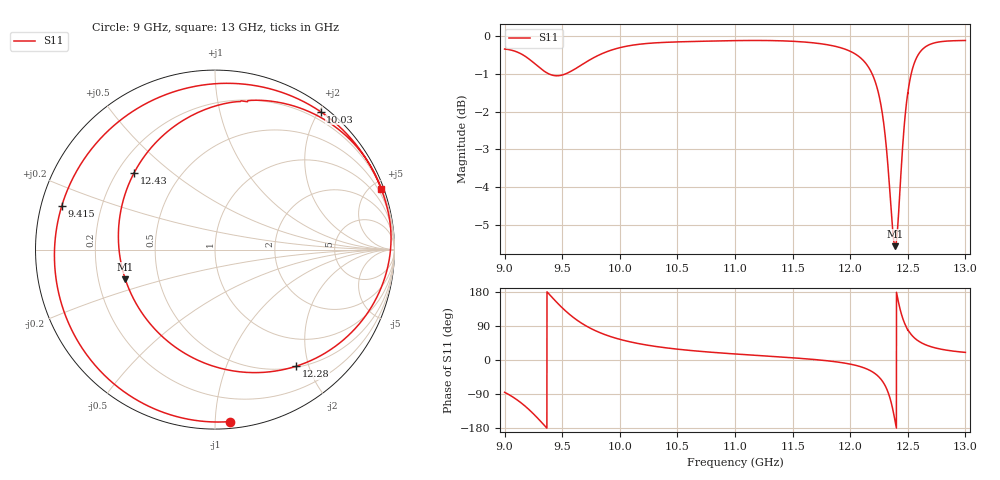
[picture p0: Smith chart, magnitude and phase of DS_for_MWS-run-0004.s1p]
! TOUCHSTONE file generated by CST DESIGN STUDIO
! Date and time: Tue Feb  4 16:25:40 2025
! Project name: C:\Work\MatlabApps\UnitCellOptimizationMatlab\CST\unitcell.cst
! Tree item: Tasks\Sweep1\SPara1\S-Parameters
! Header version: 2024
! Port assignment regex: !\s*Touchstone port\s*([0-9]+)\s*=\s*(CST MWS port|CST DES external port|CST DES block port)\s*(.+)\s* \(\"(.*)\"\)(\s*mode\s*([0-9]+))?.*
! Touchstone port assignment:
! Touchstone port 1 = CST DES external port 1 ("")
# GHz S MA R 50
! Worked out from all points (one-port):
!   4001 points, 9 GHz to 13 GHz, reference 50 ohm
!   lowest |S11| = -5.6 dB at 12.39 GHz (marker M1), VSWR 3.22, Z = 15.9 - j7.27 ohm
!   |S11| at or under -10 dB: nowhere
!   S11 on the Smith chart (normalised r, x): 9 GHz: 0.04, -1.09; 9.415 GHz: 0.06, +0.14; 10.03 GHz: 0.08, +2.02; 12.28 GHz: 0.52, -1.80; 12.43 GHz: 0.27, +0.37; 13 GHz: 0.21, +5.65
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9  0.9618 -85.2
9.109  0.953 -105.4
9.199  0.936 -127.3
9.314  0.9058 -162.2
9.415  0.8878 164.3
9.5  0.8883 137.8
9.588  0.9006 114.4
9.688  0.9203 93.4
9.836  0.9469 71.1
10  0.9658 54.6
10.025  0.9678 52.6
10.5  0.983 28.6
11  0.9869 15.9
11.5  0.9849 5.8
12  0.9552 -10.9
12.177  0.9 -28.4
12.278  0.7915 -55.1
12.341  0.632 -96.1
12.365  0.5614 -123.8
12.39  0.5263 -161.7
12.41  0.5522 166.1
12.431  0.6209 136.7
12.464  0.744 103.2
12.5  0.8415 80.0
12.567  0.93 55.8
12.654  0.9685 40.2
12.785  0.9836 28.7
13  0.9873 20.1
